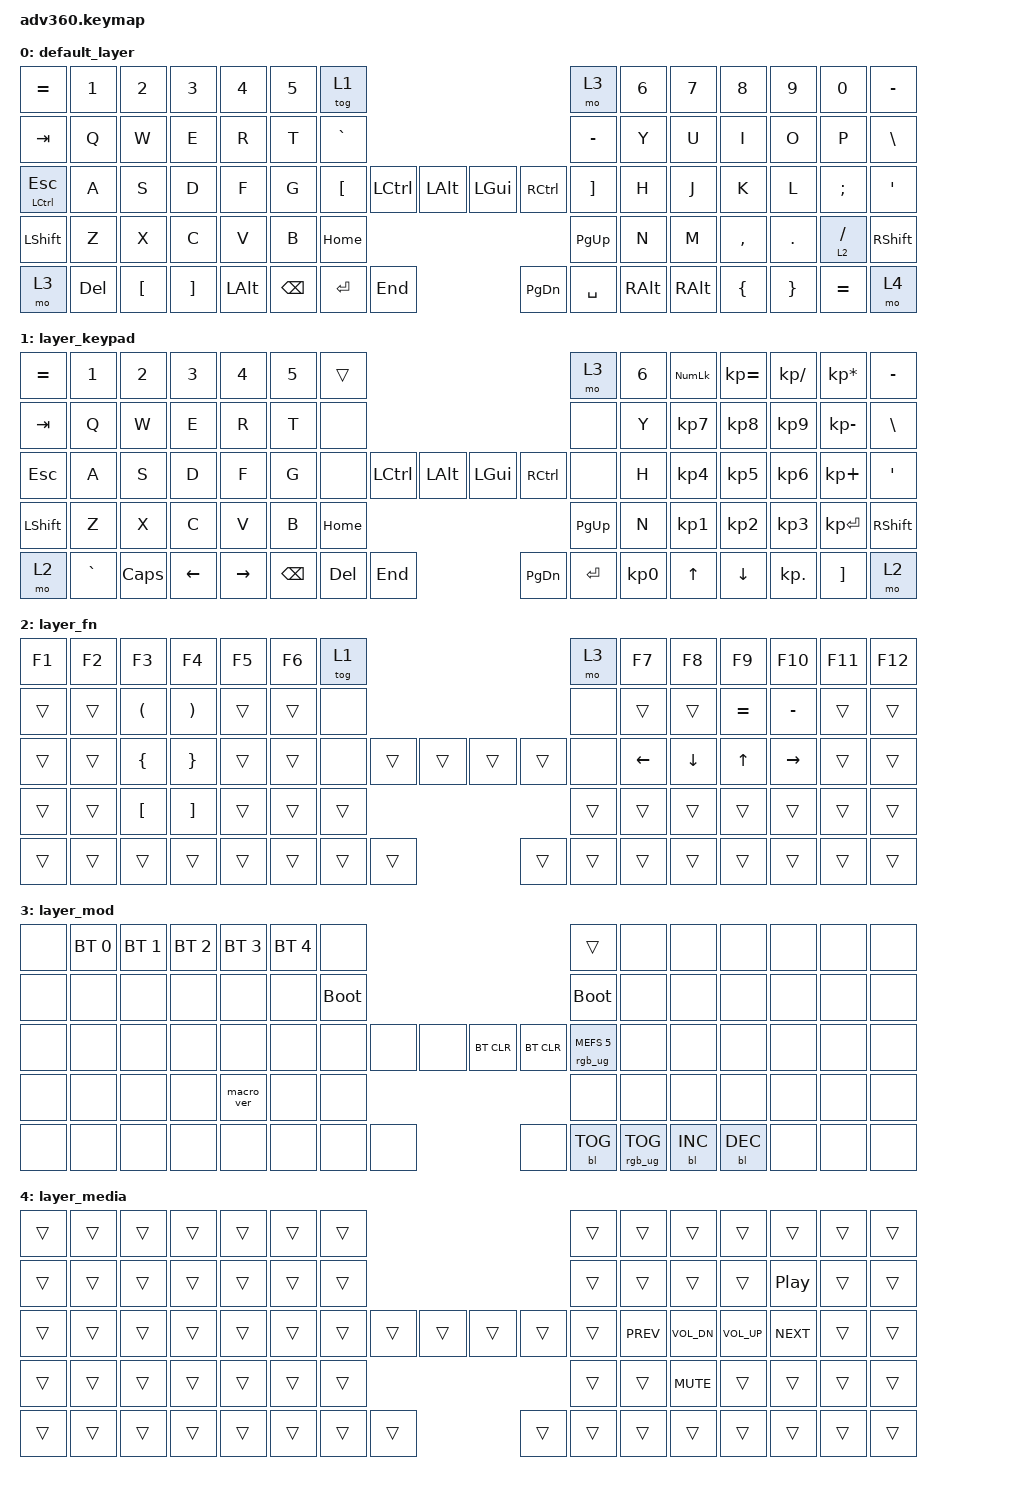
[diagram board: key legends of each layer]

/*
 * Copyright (c) 2020 The ZMK Contributors
 *
 * SPDX-License-Identifier: MIT
 */


/* THIS FILE WAS GENERATED!
 *
 * This file was generated automatically. You may or may not want to
 * edit it directly.
 */

#include <behaviors.dtsi>
#include <dt-bindings/zmk/keys.h>
#include <dt-bindings/zmk/bt.h>
#include <dt-bindings/zmk/rgb.h>
#include <dt-bindings/zmk/backlight.h>

/ {
  behaviors {
    #include "macros.dtsi"
    #include "version.dtsi"

    hm: homerow_mods {
        compatible = "zmk,behavior-hold-tap";
        label = "HOMEROW_MODS";
        #binding-cells = <2>;
        tapping-term-ms = <200>;
        quick_tap_ms = <175>;
        flavor = "tap-preferred";
        bindings = <&kp>, <&kp>;
    };
  };

    keymap {
        compatible = "zmk,keymap";


        default_layer {
            bindings = <
            &kp EQUAL   &kp N1            &kp N2             &kp N3        &kp N4  &kp N5                      &tog 1                                                                              &mo 3  &kp N6         &kp N7          &kp N8           &kp N9       &kp N0  &kp MINUS
              &kp TAB    &kp Q             &kp W              &kp E         &kp R   &kp T                   &kp GRAVE                                                                          &kp MINUS   &kp Y          &kp U           &kp I            &kp O        &kp P   &kp BSLH
 &mt LEFT_CONTROL ESC    &kp A             &kp S              &kp D         &kp F   &kp G            &kp LEFT_BRACKET   &kp LCTRL  &kp LALT                       &kp LGUI  &kp RCTRL  &kp RIGHT_BRACKET   &kp H          &kp J           &kp K            &kp L     &kp SEMI    &kp SQT
            &kp LSHFT    &kp Z             &kp X              &kp C         &kp V   &kp B                                          &kp HOME                      &kp PG_UP                                 &kp N          &kp M       &kp COMMA          &kp DOT  &lt 2 SLASH  &kp RSHFT
                &mo 3  &kp DEL  &kp LEFT_BRACKET  &kp RIGHT_BRACKET  &kp LEFT_ALT                            &kp BSPC  &kp RETURN   &kp END                  &kp PAGE_DOWN  &kp SPACE      &kp RIGHT_ALT          &kp RIGHT_ALT  &kp LEFT_BRACE  &kp RIGHT_BRACE    &kp EQUAL      &mo 4
            >;
        };

        layer_keypad {
            bindings = <
 &kp EQUAL     &kp N1    &kp N2    &kp N3     &kp N4  &kp N5              &trans                                                                 &mo 3  &kp N6  &kp KP_NUM  &kp KP_EQUAL  &kp KP_DIVIDE  &kp KP_MULTIPLY  &kp MINUS
   &kp TAB      &kp Q     &kp W     &kp E      &kp R   &kp T               &none                                                                 &none   &kp Y   &kp KP_N7     &kp KP_N8      &kp KP_N9     &kp KP_MINUS   &kp BSLH
   &kp ESC      &kp A     &kp S     &kp D      &kp F   &kp G               &none  &kp LCTRL  &kp LALT                   &kp LGUI  &kp RCTRL      &none   &kp H   &kp KP_N4     &kp KP_N5      &kp KP_N6      &kp KP_PLUS    &kp SQT
 &kp LSHFT      &kp Z     &kp X     &kp C      &kp V   &kp B                                 &kp HOME                  &kp PG_UP                         &kp N   &kp KP_N1     &kp KP_N2      &kp KP_N3     &kp KP_ENTER  &kp RSHFT
     &mo 2  &kp GRAVE  &kp CAPS  &kp LEFT  &kp RIGHT                    &kp BSPC    &kp DEL   &kp END                  &kp PG_DN  &kp ENTER  &kp KP_N0              &kp UP      &kp DOWN     &kp KP_DOT         &kp RBKT      &mo 2
            >;
        };

        layer_fn {
            bindings = <
 &kp F1  &kp F2                &kp F3                 &kp F4  &kp F5  &kp F6            &tog 1                                                   &mo 3          &kp F7          &kp F8        &kp F9          &kp F10  &kp F11  &kp F12
 &trans  &trans  &kp LEFT_PARENTHESIS  &kp RIGHT_PARENTHESIS  &trans  &trans             &none                                                   &none          &trans          &trans     &kp EQUAL        &kp MINUS   &trans   &trans
 &trans  &trans        &kp LEFT_BRACE        &kp RIGHT_BRACE  &trans  &trans             &none  &trans  &trans                  &trans  &trans   &none  &kp LEFT_ARROW  &kp DOWN_ARROW  &kp UP_ARROW  &kp RIGHT_ARROW   &trans   &trans
 &trans  &trans      &kp LEFT_BRACKET      &kp RIGHT_BRACKET  &trans  &trans                            &trans                  &trans                          &trans          &trans        &trans           &trans   &trans   &trans
 &trans  &trans                &trans                 &trans  &trans                    &trans  &trans  &trans                  &trans  &trans  &trans                          &trans        &trans           &trans   &trans   &trans
            >;
        };

        layer_mod {
            bindings = <
  &none  &bt BT_SEL 0  &bt BT_SEL 1  &bt BT_SEL 2  &bt BT_SEL 3  &bt BT_SEL 4                  &none                                                                          &trans   &none       &none       &none   &none   &none   &none
  &none         &none         &none         &none         &none         &none            &bootloader                                                                     &bootloader   &none       &none       &none   &none   &none   &none
  &none         &none         &none         &none         &none         &none                  &none   &none   &none                  &bt BT_CLR  &bt BT_CLR  &rgb_ug RGB_MEFS_CMD 5   &none       &none       &none   &none   &none   &none
  &none         &none         &none         &none    &macro_ver         &none                                  &none                       &none                                       &none       &none       &none   &none   &none   &none
  &none         &none         &none         &none         &none                                &none   &none   &none                       &none  &bl BL_TOG         &rgb_ug RGB_TOG          &bl BL_INC  &bl BL_DEC   &none   &none   &none
            >;
        };

        layer_media {
            bindings = <
 &trans  &trans  &trans  &trans  &trans  &trans            &trans                                                  &trans      &trans        &trans        &trans            &trans  &trans  &trans
 &trans  &trans  &trans  &trans  &trans  &trans            &trans                                                  &trans      &trans        &trans        &trans  &kp C_PLAY_PAUSE  &trans  &trans
 &trans  &trans  &trans  &trans  &trans  &trans            &trans  &trans  &trans                  &trans  &trans  &trans  &kp C_PREV  &kp C_VOL_DN  &kp C_VOL_UP        &kp C_NEXT  &trans  &trans
 &trans  &trans  &trans  &trans  &trans  &trans                            &trans                  &trans                      &trans    &kp C_MUTE        &trans            &trans  &trans  &trans
 &trans  &trans  &trans  &trans  &trans                    &trans  &trans  &trans                  &trans  &trans  &trans                    &trans        &trans            &trans  &trans  &trans
            >;
        };

    };
};
